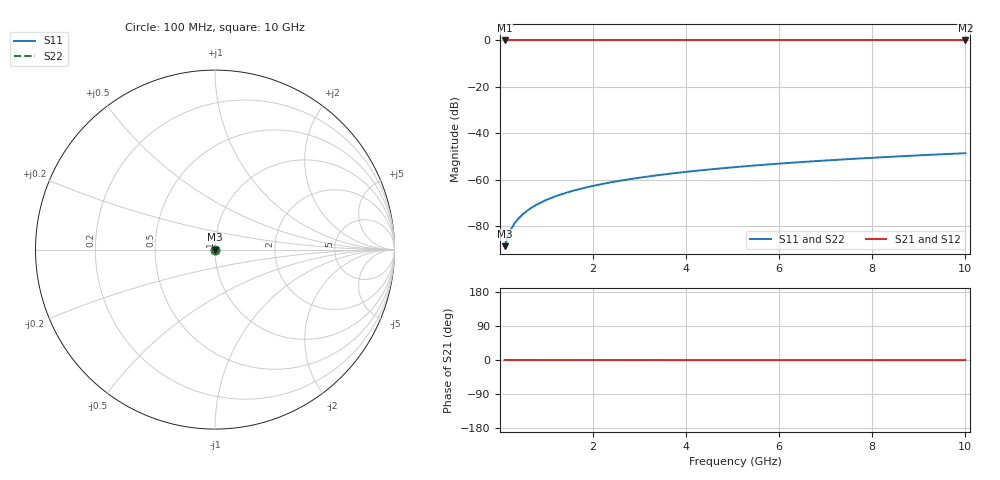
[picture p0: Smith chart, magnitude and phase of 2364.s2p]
# Hz S RI R 50.00
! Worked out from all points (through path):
!   100 points, 100 MHz to 10 GHz, reference 50 ohm
!   highest |S21| = 0.00 dB at 100 MHz (marker M1); lowest = 0.0 dB at 10 GHz (marker M2)
!   lowest |S11| = -88.7 dB at 100 MHz (marker M3), VSWR 1.00, Z = 50 - j0.00365 ohm
!   |S11| at or under -10 dB: start of sweep to end of sweep
!   |S22| runs from -88.7 to -48.6 dB; largest |S21 - S12| = 0
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1e8  3.56e-06 -3.65e-05  1 -5.93e-05  1 -5.93e-05  3.56e-06 -3.65e-05
2e8  3.54e-06 -7.29e-05  1 -0.000119  1 -0.000119  3.54e-06 -7.29e-05
3e8  3.5e-06 -0.000109  1 -0.000178  1 -0.000178  3.5e-06 -0.000109
4e8  3.45e-06 -0.000146  1 -0.000237  1 -0.000237  3.45e-06 -0.000146
5e8  3.4e-06 -0.000182  1 -0.000296  1 -0.000296  3.4e-06 -0.000182
6e8  3.35e-06 -0.000219  1 -0.000356  1 -0.000356  3.35e-06 -0.000219
7e8  3.28e-06 -0.000255  1 -0.000415  1 -0.000415  3.28e-06 -0.000255
9e8  3.14e-06 -0.000328  1 -0.000534  1 -0.000534  3.14e-06 -0.000328
1.1e9  2.98e-06 -0.000401  1 -0.000652  1 -0.000652  2.98e-06 -0.000401
1.3e9  2.8e-06 -0.000474  1 -0.000771  1 -0.000771  2.8e-06 -0.000474
1.5e9  2.6e-06 -0.000547  1 -0.00089  1 -0.00089  2.6e-06 -0.000547
1.8e9  2.27e-06 -0.000657  1 -0.00107  1 -0.00107  2.27e-06 -0.000657
2.1e9  1.9e-06 -0.000767  1 -0.00125  1 -0.00125  1.9e-06 -0.000767
2.5e9  1.34e-06 -0.000914  1 -0.00149  1 -0.00149  1.34e-06 -0.000914
2.9e9  7.06e-07 -0.00106  1 -0.00172  1 -0.00172  7.06e-07 -0.00106
3.4e9  -1.86e-07 -0.00124  1 -0.00202  1 -0.00202  -1.86e-07 -0.00124
4.2e9  -1.85e-06 -0.00154  1 -0.0025  1 -0.0025  -1.85e-06 -0.00154
5.1e9  -4.06e-06 -0.00187  1 -0.00304  1 -0.00304  -4.06e-06 -0.00187
5.9e9  -6.34e-06 -0.00217  1 -0.00352  1 -0.00352  -6.34e-06 -0.00217
6.7e9  -8.92e-06 -0.00247  1 -0.00401  1 -0.00401  -8.92e-06 -0.00247
8.4e9  -1.54e-05 -0.0031  1 -0.00504  1 -0.00504  -1.54e-05 -0.0031
1e10  -2.27e-05 -0.0037  1 -0.00602  1 -0.00602  -2.27e-05 -0.0037
